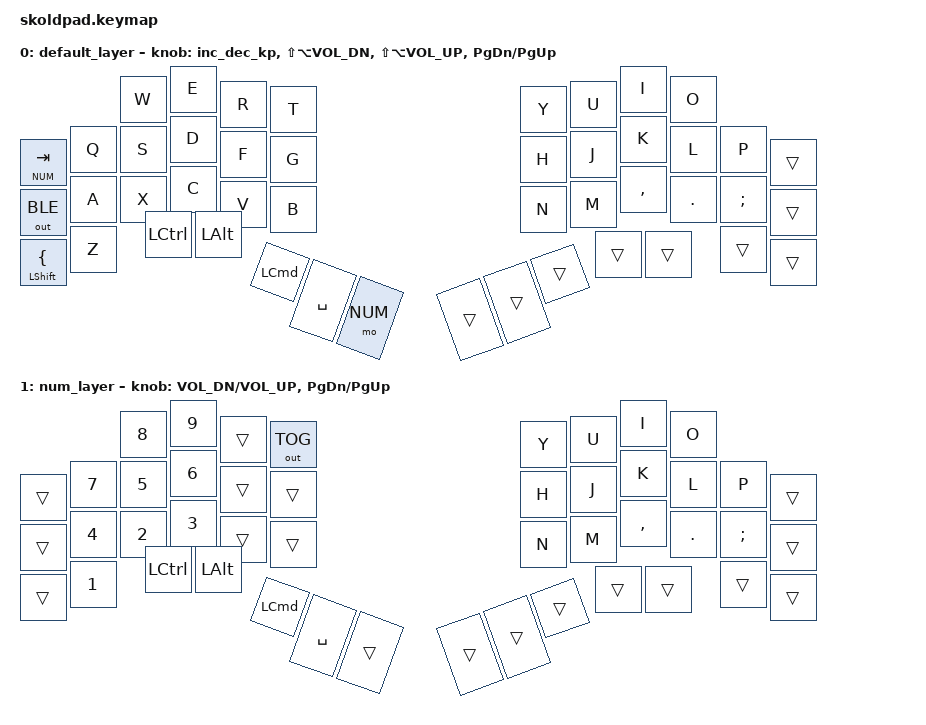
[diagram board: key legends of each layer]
#include <behaviors.dtsi>
#include <dt-bindings/zmk/bt.h>
#include <dt-bindings/zmk/keys.h>
#include <dt-bindings/zmk/outputs.h>

#define QWERTY 0
#define NUM 1

/ {

    keymap {
        compatible = "zmk,keymap";

        default_layer {
            //label = "QWERTY";
            bindings = <
        &lt NUM TAB         &kp Q   &kp W   &kp E   &kp R   &kp T                     &kp Y   &kp U  &kp I  &kp O   &kp P  &trans
        &out OUT_BLE         &kp A   &kp S   &kp D   &kp F   &kp G                     &kp H   &kp J  &kp K  &kp L  &kp SEMI  &trans  
        &mt LSHFT LBRC  &kp Z   &kp X   &kp C   &kp V   &kp B                     &kp N   &kp M  &kp COMMA  &kp DOT  &trans  &trans
                        &kp LCTRL  &kp LALT  &kp LEFT_COMMAND &kp SPACE  &mo NUM                    &trans  &trans  &trans &trans &trans
            >;

            sensor-bindings = <&inc_dec_kp &kp LS(LA(C_VOL_DN)) &kp LS(LA(C_VOL_UP)) &inc_dec_kp PG_DN PG_UP>;
        };

        num_layer {
            //label = "QWERTY";
            bindings = <
        &trans          &kp N7   &kp N8   &kp N9   &trans   &out OUT_TOG                    &kp Y   &kp U  &kp I  &kp O   &kp P  &trans
        &trans          &kp N4   &kp N5   &kp N6   &trans   &trans                    &kp H   &kp J  &kp K  &kp L  &kp SEMI  &trans  
        &trans          &kp N1   &kp N2   &kp N3   &trans   &trans                    &kp N   &kp M  &kp COMMA  &kp DOT  &trans  &trans
                        &kp LCTRL  &kp LALT  &kp LEFT_COMMAND  &kp SPACE  &trans                    &trans  &trans  &trans &trans &trans
            >;

            sensor-bindings = <&inc_dec_kp C_VOL_DN C_VOL_UP &inc_dec_kp PG_DN PG_UP>;
        };

    };
};
